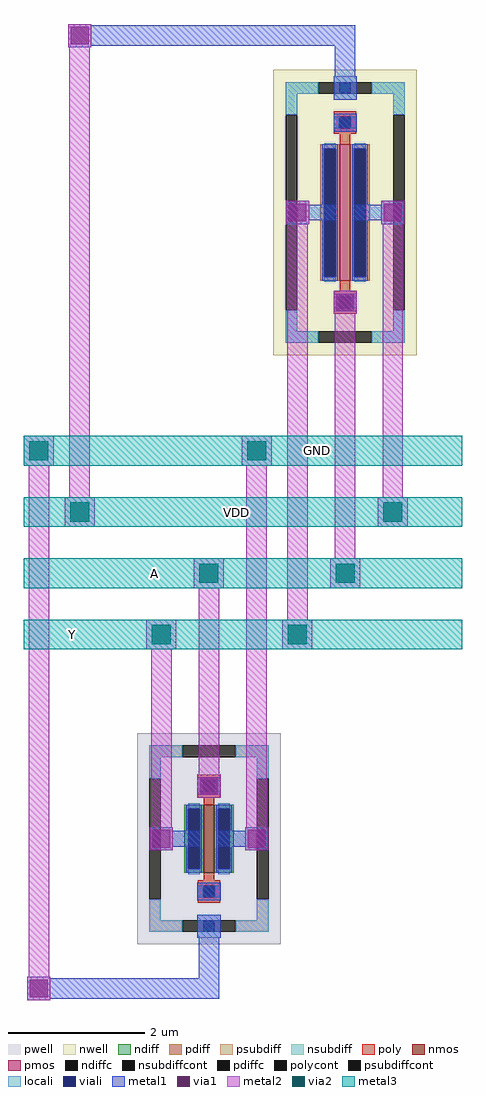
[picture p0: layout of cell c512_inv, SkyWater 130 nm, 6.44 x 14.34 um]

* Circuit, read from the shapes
.subckt c512_inv Y A VDD GND
XM1 GND A Y GND sky130_fd_pr__nfet_01v8 w=1 l=0.15
XM2 VDD A Y VDD sky130_fd_pr__pfet_01v8 w=2 l=0.15
.ends

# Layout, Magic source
magic
tech sky130A
magscale 1 2
<< pwell >>
rect 389 -310 811 310
<< nmos >>
rect 585 -100 615 100
<< ndiff >>
rect 527 88 585 100
rect 527 -88 539 88
rect 573 -88 585 88
rect 527 -100 585 -88
rect 615 88 673 100
rect 615 -88 627 88
rect 661 -88 673 88
rect 615 -100 673 -88
<< ndiffc >>
rect 539 -88 573 88
rect 627 -88 661 88
<< psubdiff >>
rect 425 240 521 274
rect 679 240 775 274
rect 425 178 459 240
rect 741 178 775 240
rect 425 -240 459 -178
rect 741 -240 775 -178
rect 425 -274 521 -240
rect 679 -274 775 -240
<< psubdiffcont >>
rect 521 240 679 274
rect 425 -178 459 178
rect 741 -178 775 178
rect 521 -274 679 -240
<< poly >>
rect 567 172 633 188
rect 567 138 583 172
rect 617 138 633 172
rect 567 122 633 138
rect 585 100 615 122
rect 585 -122 615 -100
rect 567 -138 633 -122
rect 567 -172 583 -138
rect 617 -172 633 -138
rect 567 -188 633 -172
rect 967 2121 1033 2137
rect 967 2087 983 2121
rect 1017 2087 1033 2121
rect 967 2071 1033 2087
rect 985 2040 1015 2071
rect 985 1609 1015 1640
rect 967 1593 1033 1609
rect 967 1559 983 1593
rect 1017 1559 1033 1593
rect 967 1543 1033 1559
<< polycont >>
rect 583 138 617 172
rect 583 -172 617 -138
rect 983 2087 1017 2121
rect 983 1559 1017 1593
<< locali >>
rect 425 240 521 274
rect 679 240 775 274
rect 425 178 459 240
rect 741 178 775 240
rect 567 138 583 172
rect 617 138 633 172
rect 539 88 573 104
rect 539 -104 573 -88
rect 627 88 661 104
rect 627 -104 661 -88
rect 567 -172 583 -138
rect 617 -172 633 -138
rect 425 -240 459 -178
rect 741 -240 775 -178
rect 425 -274 521 -240
rect 679 -274 775 -240
rect 566 -291 634 -223
rect 825 2189 921 2223
rect 1079 2189 1175 2223
rect 825 2127 859 2189
rect 1141 2127 1175 2189
rect 967 2087 983 2121
rect 1017 2087 1033 2121
rect 939 2028 973 2044
rect 939 1636 973 1652
rect 1027 2028 1061 2044
rect 1027 1636 1061 1652
rect 967 1559 983 1593
rect 1017 1559 1033 1593
rect 825 1491 859 1553
rect 1141 1491 1175 1553
rect 825 1457 921 1491
rect 1079 1457 1175 1491
rect 966 2172 1034 2240
<< viali >>
rect 583 138 617 172
rect 539 -88 573 88
rect 627 -88 661 88
rect 583 -172 617 -138
rect 583 -274 617 -240
rect 983 2087 1017 2121
rect 939 1652 973 2028
rect 1027 1652 1061 2028
rect 983 1559 1017 1593
rect 983 2189 1017 2223
<< metal1 >>
rect 571 172 629 178
rect 571 138 583 172
rect 617 138 629 172
rect 571 132 629 138
rect 533 88 579 100
rect 533 -88 539 88
rect 573 -88 579 88
rect 533 -100 579 -88
rect 621 88 667 100
rect 621 -88 627 88
rect 661 -88 667 88
rect 621 -100 667 -88
rect 571 -138 629 -132
rect 571 -172 583 -138
rect 617 -172 629 -138
rect 571 -178 629 -172
rect 566 -181 634 -129
rect 566 129 634 181
rect 437 -23 579 23
rect 426 -34 494 34
rect 621 -23 763 23
rect 706 -34 774 34
rect 566 129 634 181
rect 566 -291 634 -223
rect 570 -470 630 -227
rect 971 2121 1029 2127
rect 971 2087 983 2121
rect 1017 2087 1029 2121
rect 971 2081 1029 2087
rect 933 2028 979 2040
rect 933 1652 939 2028
rect 973 1652 979 2028
rect 933 1640 979 1652
rect 1021 2028 1067 2040
rect 1021 1652 1027 2028
rect 1061 1652 1067 2028
rect 1021 1640 1067 1652
rect 971 1593 1029 1599
rect 971 1559 983 1593
rect 1017 1559 1029 1593
rect 971 1553 1029 1559
rect 966 1550 1034 1602
rect 966 2078 1034 2130
rect 837 1817 979 1863
rect 826 1806 894 1874
rect 1021 1817 1163 1863
rect 1106 1806 1174 1874
rect 966 1550 1034 1602
rect 966 2172 1034 2240
rect 970 2176 1030 2390
rect 70 -470 630 -410
rect 66 -474 134 -406
rect 190 2330 1030 2390
rect 186 2326 254 2394
<< via1 >>
rect 434 -26 486 26
rect 714 -26 766 26
rect 574 129 626 181
rect 834 1814 886 1866
rect 1114 1814 1166 1866
rect 974 1550 1026 1602
rect 74 -466 126 -414
rect 194 2334 246 2386
<< metal2 >>
rect 426 -34 494 34
rect 706 -34 774 34
rect 566 121 634 189
rect 826 1806 894 1874
rect 1106 1806 1174 1874
rect 966 1542 1034 1610
rect 66 -474 134 -406
rect 186 2326 254 2394
rect 430 -30 490 630
rect 416 556 504 644
rect 830 570 890 1870
rect 816 556 904 644
rect 710 -30 770 1170
rect 696 1096 784 1184
rect 70 -470 130 1170
rect 56 1096 144 1184
rect 570 125 630 810
rect 556 736 644 824
rect 970 750 1030 1606
rect 956 736 1044 824
rect 1110 930 1170 1870
rect 1096 916 1184 1004
rect 190 930 250 2390
rect 176 916 264 1004
<< nwell >>
rect 789 1421 1211 2259
<< pmos >>
rect 985 1640 1015 2040
<< pdiff >>
rect 927 2028 985 2040
rect 927 1652 939 2028
rect 973 1652 985 2028
rect 927 1640 985 1652
rect 1015 2028 1073 2040
rect 1015 1652 1027 2028
rect 1061 1652 1073 2028
rect 1015 1640 1073 1652
<< pdiffc >>
rect 939 1652 973 2028
rect 1027 1652 1061 2028
<< nsubdiff >>
rect 825 2189 921 2223
rect 1079 2189 1175 2223
rect 825 2127 859 2189
rect 1141 2127 1175 2189
rect 825 1491 859 1553
rect 1141 1491 1175 1553
rect 825 1457 921 1491
rect 1079 1457 1175 1491
<< nsubdiffcont >>
rect 921 2189 1079 2223
rect 825 1553 859 2127
rect 1141 1553 1175 2127
rect 921 1457 1079 1491
<< metal3 >>
rect 56 556 1344 644
rect 416 556 504 644
rect 816 556 904 644
rect 56 1096 1344 1184
rect 696 1096 784 1184
rect 56 1096 144 1184
rect 56 736 1344 824
rect 556 736 644 824
rect 956 736 1044 824
rect 56 916 1344 1004
rect 1096 916 1184 1004
rect 176 916 264 1004
<< via2 >>
rect 432 572 488 628
rect 832 572 888 628
rect 712 1112 768 1168
rect 72 1112 128 1168
rect 572 752 628 808
rect 972 752 1028 808
rect 1112 932 1168 988
rect 192 932 248 988
<< labels >>
rlabel metal3 200 600 200 600 0 Y
port 1 nsew signal bidirectional
rlabel metal3 920 1140 920 1140 0 GND
port 4 nsew signal bidirectional
rlabel metal3 440 780 440 780 0 A
port 2 nsew signal bidirectional
rlabel metal3 680 960 680 960 0 VDD
port 3 nsew signal bidirectional
<< end >>
